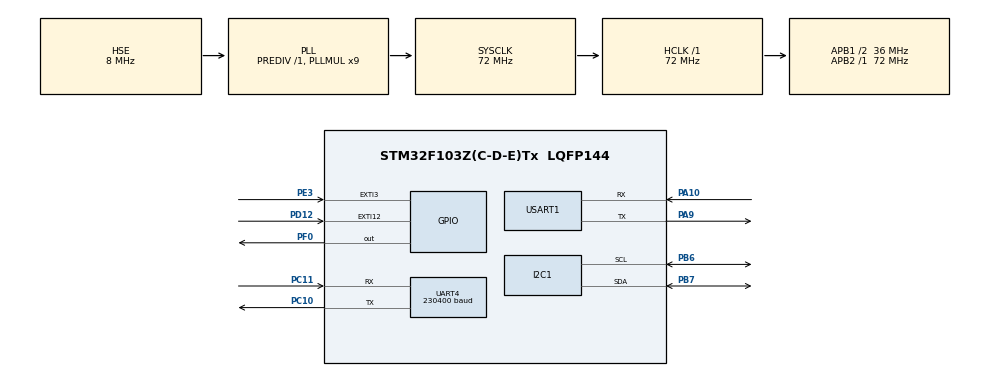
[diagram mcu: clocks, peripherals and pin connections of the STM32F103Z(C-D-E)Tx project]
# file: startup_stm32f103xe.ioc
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Dma.Request0=UART4_TX
Dma.UART4_TX.0.Direction=DMA_MEMORY_TO_PERIPH
Dma.UART4_TX.0.Instance=DMA2_Channel5
Dma.UART4_TX.0.MemDataAlignment=DMA_MDATAALIGN_BYTE
Dma.UART4_TX.0.MemInc=DMA_MINC_ENABLE
Dma.UART4_TX.0.Mode=DMA_NORMAL
Dma.UART4_TX.0.PeriphDataAlignment=DMA_PDATAALIGN_BYTE
Dma.UART4_TX.0.PeriphInc=DMA_PINC_DISABLE
Dma.UART4_TX.0.Priority=DMA_PRIORITY_HIGH
FREERTOS.Tasks01=defaultTask,24,128,StartDefaultTask,Default,NULL,Dynamic,NULL,NULL
FREERTOS.configTOTAL_HEAP_SIZE=3072*4
FREERTOS.configUSE_TICK_HOOK=1
I2C1.I2C_Mode=I2C_Fast
Mcu.Family=STM32F1
Mcu.Name=STM32F103Z(C-D-E)Tx
Mcu.Package=LQFP144
NVIC.DMA2_Channel4_5_IRQn=true\:5\:0\:false\:false\:true\:true\:false\:true\:true
NVIC.EXTI15_10_IRQn=true\:5\:0\:false\:false\:true\:true\:true\:true\:true
NVIC.EXTI3_IRQn=true\:5\:0\:false\:false\:true\:true\:true\:true\:true
NVIC.PriorityGroup=NVIC_PRIORITYGROUP_4
NVIC.TIM8_UP_IRQn=true\:12\:0\:true\:false\:true\:false\:false\:true\:true
NVIC.TimeBase=TIM8_UP_IRQn
NVIC.TimeBaseIP=TIM8
NVIC.UART4_IRQn=true\:5\:0\:false\:false\:true\:true\:true\:true\:true
OSC_IN.Mode=HSE-External-Oscillator
OSC_IN.Signal=RCC_OSC_IN
OSC_OUT.Mode=HSE-External-Oscillator
OSC_OUT.Signal=RCC_OSC_OUT
PA10.Mode=Asynchronous
PA10.Signal=USART1_RX
PA13.Mode=Serial_Wire
PA13.Signal=SYS_JTMS-SWDIO
PA14.Mode=Serial_Wire
PA14.Signal=SYS_JTCK-SWCLK
PA9.Mode=Asynchronous
PA9.Signal=USART1_TX
PB6.Mode=I2C
PB6.Signal=I2C1_SCL
PB7.Mode=I2C
PB7.Signal=I2C1_SDA
PC10.Mode=Asynchronous
PC10.Signal=UART4_TX
PC11.Mode=Asynchronous
PC11.Signal=UART4_RX
PD12.GPIO_ModeDefaultEXTI=GPIO_MODE_IT_FALLING
PD12.GPIO_PuPd=GPIO_PULLUP
PD12.Signal=GPXTI12
PE3.GPIO_ModeDefaultEXTI=GPIO_MODE_IT_FALLING
PE3.GPIO_PuPd=GPIO_PULLUP
PE3.Signal=GPXTI3
PF0.GPIO_PuPd=GPIO_PULLDOWN
PF0.GPIO_Speed=GPIO_SPEED_FREQ_MEDIUM
PF0.PinState=GPIO_PIN_SET
PF0.Signal=GPIO_Output
ProjectManager.HeapSize=0x200
ProjectManager.StackSize=0x400
ProjectManager.TargetToolchain=CMake
RCC.AHBFreq_Value=72000000
RCC.APB1CLKDivider=RCC_HCLK_DIV2
RCC.APB1Freq_Value=36000000
RCC.APB1TimFreq_Value=72000000
RCC.APB2Freq_Value=72000000
RCC.APB2TimFreq_Value=72000000
RCC.HCLKFreq_Value=72000000
RCC.PLLMUL=RCC_PLL_MUL9
RCC.PLLSourceVirtual=RCC_PLLSOURCE_HSE
RCC.SYSCLKFreq_VALUE=72000000
RCC.SYSCLKSource=RCC_SYSCLKSOURCE_PLLCLK
RCC.USBFreq_Value=72000000
UART4.BaudRate=230400
UART4.VirtualMode=Asynchronous
USART1.VirtualMode=VM_ASYNC
VP_FREERTOS_VS_CMSIS_V2.Mode=CMSIS_V2
VP_SYS_VS_tim8.Mode=TIM8
board=custom

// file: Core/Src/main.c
/* USER CODE BEGIN Header */
/**
  ******************************************************************************
  * @file           : main.c
  * @brief          : Main program body
  ******************************************************************************
  * @attention
  *
  * Copyright (c) 2026 STMicroelectronics.
  * All rights reserved.
  *
  * This software is licensed under terms that can be found in the LICENSE file
  * in the root directory of this software component.
  * If no LICENSE file comes with this software, it is provided AS-IS.
  *
  ******************************************************************************
  */
/* USER CODE END Header */
#include "main.h"
#include "cmsis_os.h"
#include "dma.h"
#include "i2c.h"
#include "usart.h"
#include "gpio.h"

/* USER CODE BEGIN Includes */
#include "OLED.h"
/* USER CODE END Includes */

void SystemClock_Config(void);
void MX_FREERTOS_Init(void);

int main(void)
{

  /* MCU Configuration--------------------------------------------------------*/

  /* Reset of all peripherals, Initializes the Flash interface and the Systick. */
  HAL_Init();

  /* Configure the system clock */
  SystemClock_Config();

  /* Initialize all configured peripherals */
  MX_GPIO_Init();
  MX_DMA_Init();
  MX_I2C1_Init();
  MX_USART1_UART_Init();
  MX_UART4_Init();
  /* USER CODE BEGIN 2 */
  HAL_GPIO_WritePin(GPIOF,GPIO_PIN_0,SET); // 默认输出高电平
  OLED_Init();
  /* USER CODE END 2 */

  /* Init scheduler */
  osKernelInitialize();

  /* Call init function for freertos objects (in cmsis_os2.c) */
  MX_FREERTOS_Init();

  /* Start scheduler */
  osKernelStart();

  /* We should never get here as control is now taken by the scheduler */

  /* Infinite loop */
  while (1)
  {

  }
}

void SystemClock_Config(void)
{
  RCC_OscInitTypeDef RCC_OscInitStruct = {0};
  RCC_ClkInitTypeDef RCC_ClkInitStruct = {0};

  /** Initializes the RCC Oscillators according to the specified parameters
  * in the RCC_OscInitTypeDef structure.
  */
  RCC_OscInitStruct.OscillatorType = RCC_OSCILLATORTYPE_HSE;
  RCC_OscInitStruct.HSEState = RCC_HSE_ON;
  RCC_OscInitStruct.HSEPredivValue = RCC_HSE_PREDIV_DIV1;
  RCC_OscInitStruct.HSIState = RCC_HSI_ON;
  RCC_OscInitStruct.PLL.PLLState = RCC_PLL_ON;
  RCC_OscInitStruct.PLL.PLLSource = RCC_PLLSOURCE_HSE;
  RCC_OscInitStruct.PLL.PLLMUL = RCC_PLL_MUL9;
  if (HAL_RCC_OscConfig(&RCC_OscInitStruct) != HAL_OK)
  {
    Error_Handler();
  }

  /** Initializes the CPU, AHB and APB buses clocks
  */
  RCC_ClkInitStruct.ClockType = RCC_CLOCKTYPE_HCLK|RCC_CLOCKTYPE_SYSCLK
                              |RCC_CLOCKTYPE_PCLK1|RCC_CLOCKTYPE_PCLK2;
  RCC_ClkInitStruct.SYSCLKSource = RCC_SYSCLKSOURCE_PLLCLK;
  RCC_ClkInitStruct.AHBCLKDivider = RCC_SYSCLK_DIV1;
  RCC_ClkInitStruct.APB1CLKDivider = RCC_HCLK_DIV2;
  RCC_ClkInitStruct.APB2CLKDivider = RCC_HCLK_DIV1;

  if (HAL_RCC_ClockConfig(&RCC_ClkInitStruct, FLASH_LATENCY_2) != HAL_OK)
  {
    Error_Handler();
  }
}

void HAL_TIM_PeriodElapsedCallback(TIM_HandleTypeDef *htim)
{
  if (htim->Instance == TIM8) {
    HAL_IncTick();
  }
}

void Error_Handler(void)
{
  __disable_irq();
  while (1)
  {
  }
}

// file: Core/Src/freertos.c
/* USER CODE BEGIN Header */
/* USER CODE END Header */

#include "FreeRTOS.h"
#include "task.h"
#include "main.h"
#include "cmsis_os.h"

/* USER CODE BEGIN Includes */
#include "event_groups.h"
#include "max30102.h"
#include "OLED.h"
#include "queue.h"
#include <string.h>
#include "utils.h"
#include <stdio.h>
#include "lowpower.h"

/* USER CODE END Includes */

/* USER CODE BEGIN PTD */

// 内存不对齐__attribute__packed
// sizeof 444Byte
typedef struct __attribute__((packed)){
  int32_t ppg[100];
  uint16_t heartrate;
  uint16_t valley_count; //峰谷的数量
  uint16_t valley_index[20]; // 心率最高240时最多4个波谷，存储20个峰谷数据，盈余一些
} Trans_Data_t;

/* USER CODE END PTD */

/* USER CODE BEGIN PD */
#define UART_PAYLOAD_LEN  sizeof(Trans_Data_t)

#define STARTBYTE1 0xAA
#define STARTBYTE2 0x55

#define ENDBYTE1 0X0D
#define ENDBYTE2 0X0D

/* USER CODE END PD */

/* USER CODE BEGIN Variables */
extern I2C_HandleTypeDef hi2c1;

Trans_Data_t trans_data_t ; // 位于内存中的.bss自动初始化为0

// UART要发送的buffer
uint8_t txbuf[UART_PAYLOAD_LEN + 10] = {0};

// 任务创建返回值
BaseType_t xCreateResult ;

// 任务句柄
TaskHandle_t xMax30102TaskHandle  = NULL;
TaskHandle_t xPpgProcessTaskHandle  = NULL;
TaskHandle_t xOledTaskHandle  = NULL;
TaskHandle_t xUploadHandle = NULL;
TaskHandle_t xLowPowerTaskHandle  = NULL;

// 事件组句柄
EventGroupHandle_t xStatusEventHandle = NULL;

// 用于OLED显示的心率值
uint16_t hr = 0;

// 心率队列Static
QueueHandle_t HeartRateHandle;
uint8_t QueueStorageBuffer[160];
StaticQueue_t xQueueBuffer;

// 传输静态队列Static
QueueHandle_t TransferHandle;
uint8_t QueueTransferBuffer[sizeof(Trans_Data_t)*4];
StaticQueue_t xQueueTransferBuffer;

// 事件组Static
StaticEventGroup_t xEventGroupBuffer;

// 事件
#define MAX30102_Init_Failed 				          (1UL << 0)
#define MAX30102_REG_INTR_STATUS_1_Failed 	  (1UL << 1)
#define MAX30102_REG_INTR_STATUS_2_Failed 	  (1UL << 2)
#define MAX30102_GetDataPointer_Failed 	      (1UL << 3)
#define MAX30102_QUEUE_FULL_ERR          	    (1UL << 4)
#define DMA_START_FAILED                      (1UL << 5)
#define DMA_TIME_OUT                          (1UL << 6)
#define ALL_Bit_Error (MAX30102_Init_Failed|MAX30102_REG_INTR_STATUS_1_Failed|\
                      MAX30102_REG_INTR_STATUS_2_Failed|MAX30102_GetDataPointer_Failed|\
                      MAX30102_QUEUE_FULL_ERR|DMA_START_FAILED|\
                      DMA_TIME_OUT)

/* USER CODE END Variables */
/* Definitions for defaultTask */
osThreadId_t defaultTaskHandle;
const osThreadAttr_t defaultTask_attributes = {
  .name = "defaultTask",
  .stack_size = 128 * 4,
  .priority = (osPriority_t) osPriorityNormal,
};

/* USER CODE BEGIN FunctionPrototypes */
void Task_MAX30102(void *argument);
void Task_PPG_Process(void *argument);
void Task_OLED_Show(void *argument);
void Task_Upload(void *argument);
void Is_Low_Power(void *argument);

void StartDefaultTask(void *argument);
void MX_FREERTOS_Init(void);
void UART_Protocol_EncodeFrame(Trans_Data_t *data,uint16_t length);
void UART_Protocol_Init(void);

/* USER CODE END FunctionPrototypes */

void StartDefaultTask(void *argument);

void MX_FREERTOS_Init(void); /* (MISRA C 2004 rule 8.1) */

/* Hook prototypes */
void vApplicationTickHook(void);

/* USER CODE BEGIN 3 */
volatile uint8_t g_ucCPUUsage = 0;
void vApplicationTickHook( void )
{
  static uint32_t ulIdleTicks = 0;
  static uint32_t ulTotalTicks = 0;
  // 获取空闲任务的句柄（系统启动后只会获取一次）
  static TaskHandle_t xIdleTaskHandle = NULL;
  if (xIdleTaskHandle == NULL) {
    xIdleTaskHandle = xTaskGetIdleTaskHandle();
  }
  // 统计总次数
  ulTotalTicks++;
  //  检查当前正在运行的任务是否是空闲任务
  if (xTaskGetCurrentTaskHandle() == xIdleTaskHandle) {
    ulIdleTicks++;
  }
  // 100个Tick后计算CPU使用率
  if (ulTotalTicks >= 100) {
    // 计算百分比：100 - (空闲比例 * 100)
    g_ucCPUUsage = 100 - (100 * ulIdleTicks) / ulTotalTicks;
    ulIdleTicks = 0;
    ulTotalTicks = 0;
  }
}
/* USER CODE END 3 */

void MX_FREERTOS_Init(void) {
  /* USER CODE BEGIN Init */
    // 创建事件组
    xStatusEventHandle = xEventGroupCreateStatic(&xEventGroupBuffer);
    if (xStatusEventHandle == NULL)
    {
      Error_Handler();
    }
  /* USER CODE END Init */

  /* USER CODE BEGIN RTOS_QUEUES */
  // 创建队列,队列长度20,每个元素4字节，存储在QueueStorageBuffer
  HeartRateHandle = xQueueCreateStatic(40,4,QueueStorageBuffer,&xQueueBuffer);
  xQueueReset(HeartRateHandle);

  // 创建队列,队列长度4,每个元素sizeof(Trans_Data_t)字节，存储在QueueTransferBuffer
  TransferHandle = xQueueCreateStatic(4,sizeof(Trans_Data_t),QueueTransferBuffer,&xQueueTransferBuffer);
  xQueueReset(TransferHandle);

  /* USER CODE END RTOS_QUEUES */

  /* Create the thread(s) */
  /* creation of defaultTask */
  defaultTaskHandle = osThreadNew(StartDefaultTask, NULL, &defaultTask_attributes);

  /* USER CODE BEGIN RTOS_THREADS */

  xCreateResult = xTaskCreate(
    Task_MAX30102,
    "Task_MAX30102",
    256,
    NULL,
    10,
    &xMax30102TaskHandle
  );
  if (xCreateResult != pdPASS) {
    Error_Handler();
  }

   xCreateResult = xTaskCreate(
       Task_PPG_Process,
       "Task_PPG_Process",
       512,
       NULL,
       9,
       &xPpgProcessTaskHandle
   );
  if (xCreateResult != pdPASS) {
    Error_Handler();
  }

  xCreateResult = xTaskCreate(
      Task_OLED_Show,
      "Task_OLED_Show",
      256,
      (void *)&hr,
      7,
      &xOledTaskHandle
  );
  if (xCreateResult != pdPASS) {
    Error_Handler();
  }

  xCreateResult = xTaskCreate(
      Task_Upload,
      "Task_Upload",
      512,
      NULL,
      8,
      &xUploadHandle
    );
  if (xCreateResult != pdPASS) {
    Error_Handler();
  }

  xCreateResult = xTaskCreate(
    Is_Low_Power,
    "Is_Low_Power",
    256,
    NULL,
    11,
    &xLowPowerTaskHandle
  );
  if (xCreateResult != pdPASS) {
    Error_Handler();
  }

  /* add threads, ... */
  /* USER CODE END RTOS_THREADS */

}

void StartDefaultTask(void *argument)
{
  for(;;)
  {
    osDelay(1);
  }
}

/* USER CODE BEGIN Application */

void Task_MAX30102(void *argument)
{
  // 若MAX30102_Init失败则记录到事件组中
  if (MAX30102_Init(&hi2c1,0) != HAL_OK)
  {
    xEventGroupSetBits(xStatusEventHandle,MAX30102_Init_Failed);
  }
  uint32_t FIFOdata = 0;
  uint8_t status1 = 0;
  uint8_t status2 = 0;
  // FIFO可读取的数据
  while (1)
  {
    // 任务通知接收，采用率是100Hz,最多等1s
    ulTaskNotifyTake(pdTRUE, pdMS_TO_TICKS(1000));
    // 读状态寄存器清除中断
    if (MAX30102_ReadReg(&hi2c1, MAX30102_REG_INTR_STATUS_1, &status1) != HAL_OK)
    {
      xEventGroupSetBits(xStatusEventHandle,MAX30102_REG_INTR_STATUS_1_Failed);
    }
    if (MAX30102_ReadReg(&hi2c1, MAX30102_REG_INTR_STATUS_2, &status2) != HAL_OK)
    {
      xEventGroupSetBits(xStatusEventHandle,MAX30102_REG_INTR_STATUS_2_Failed);
    }
    // 获取FIFO可读取的数据
    if (MAX30102_GetDataPointer(&hi2c1,&FIFOdata) != HAL_OK) {
      xEventGroupSetBits(xStatusEventHandle,MAX30102_GetDataPointer_Failed);
    }
    // 发到队列上
    if (xQueueSendToBack(HeartRateHandle,&FIFOdata,0) != pdPASS) {
      xEventGroupSetBits(xStatusEventHandle,MAX30102_QUEUE_FULL_ERR);
    }
  }
}

void Task_PPG_Process(void *argument)
{
  // 队列接收状态
  BaseType_t QueueReceiveStatus = pdFALSE;

  // 滤波器初始化
  bandpass bandpass_30102;
  MAX30102_BandPass_Init(&bandpass_30102);

  // 环形缓冲区接收数据
  static heart_buff_t hb_buffer;
  heart_buff_t* hb = &hb_buffer;
  Slide_Window_Init(hb);

  // 创建一个临时变量，存储传感器读到的数据
  uint32_t ir_value = 0;
  // 记录是否获取到最新的100点数据
  static uint8_t step_count = 99; // 环形缓冲区是空的，当环形缓冲区满了，计算一次
  // 记录波形最大最小值
  static long max_wave = 0;
  static long min_wave = 0;
  // 结构体ppg索引
  uint8_t ppg_t_index = 0;
  while (1)
  {
     QueueReceiveStatus = xQueueReceive(HeartRateHandle,&ir_value,portMAX_DELAY);
    // 读到队列的数据了
    if (QueueReceiveStatus == pdPASS) {

      float get_value = MAX30102_bandpass_filter((float)ir_value,&bandpass_30102);
      // 保留两位小数，截段剩余部分
      int get_value_100 = (int)(get_value * 100.0f);
      // 加入环形缓冲区
      Slide_Window_AddData(hb,get_value_100);
      // 当环形缓冲区满时，开始处理数据
      if (hb->count == 500) step_count++;
      // 如果更新的数据为100时，计算一次心率
      if (step_count >= 100) {
        // 更新计数值为0
        step_count = 0;
        // 初始化波形最大最小值
        min_wave = Slide_Window_GetData(hb, 0);
        max_wave = min_wave;
        // 遍历环形缓冲区，找出最大最小值
        for (int i = 1; i < 500; i++) {
          int v = Slide_Window_GetData(hb, i);
          if (v < min_wave) min_wave = v;
          if (v > max_wave) max_wave = v;
        }
        // 阈值经验公式
        long threshold = min_wave + (long)(0.45f * (max_wave - min_wave));

        // hb_index 用于存储峰谷索引值，采样率100HZ
        // hb_count 用于记录存储了多少峰值
        // bottom_index 更新峰谷索引
        uint16_t hb_index[20];
        uint8_t hb_count = 0;
        int bottom_index = -1;

        // 遍历环形缓冲区，寻找峰谷，找5点中最小值
        int p_2 = Slide_Window_GetData(hb, 0);
        int p_1 = Slide_Window_GetData(hb, 1);
        int p_0 = Slide_Window_GetData(hb, 2);
        int p1  = Slide_Window_GetData(hb, 3);
        int p2;
        for (int i = 2; i < 500-2; i++) {
          p2 = Slide_Window_GetData(hb, i+2);
        // p0为五点最小且p0小于阈值，则p0为峰谷点
        if (p_0 < p_1 && p_0 < p1 && p_1 < p_2 && p1 < p2 && p_0 < threshold) {
          // if (bottom_index == -1 ||( i - bottom_index >=25 && i-bottom_index < 200))
          // 测静息心率来说的话，心率在50到150之间
          if (bottom_index == -1 ||(i - bottom_index >=40 && i - bottom_index <= 120) )
            {
            if (hb_count < 20) {
              // 记录峰谷索引
              hb_index[hb_count++] = i;
              // 更新峰谷索引
              bottom_index = i;
            }
          }
        }
          p_2 = p_1;
          p_1 = p_0;
          p_0 = p1;
          p1  = p2;
        }

        // 装填前清理trans_data_t
        memset(&trans_data_t, 0, sizeof(trans_data_t));
        // 装填数据到结构体
        for (uint16_t i = 0;i<100;i++) {
          trans_data_t.ppg[i] = Slide_Window_GetData(hb,i+400);
        }
        trans_data_t.heartrate = 0;
        for (int i = 0; i < hb_count; i++) {
          trans_data_t.valley_index[i] = hb_index[i];
        }
        trans_data_t.valley_count = hb_count;
        // 计算心率值
        uint16_t average_heart = 0;
        for (int i = 1; i < hb_count; i++) {
          average_heart += hb_index[i] - hb_index[i-1];
        }
        if (hb_count < 2) {
          xQueueSendToBack(TransferHandle,&trans_data_t,0);
          continue;
        }
        average_heart /= (hb_count - 1);
        if (average_heart == 0) {
          xQueueSendToBack(TransferHandle,&trans_data_t,0);
          continue;
        }
        hr = 6000/(average_heart);
        trans_data_t.heartrate = hr;
        // 队列发送数据
        xQueueSendToBack(TransferHandle,&trans_data_t,0);
      }
    }
  }
}

static void OLED_ShowError(EventBits_t error_bits)
{
  if (error_bits & MAX30102_Init_Failed)
  {
    OLED_ShowString(4, 1, "ERR:MAX INIT   ");
  }
  else if (error_bits & MAX30102_REG_INTR_STATUS_1_Failed)
  {
    OLED_ShowString(4, 1, "ERR:INT ST1    ");
  }
  else if (error_bits & MAX30102_REG_INTR_STATUS_2_Failed)
  {
    OLED_ShowString(4, 1, "ERR:INT ST2    ");
  }
  else if (error_bits & MAX30102_GetDataPointer_Failed)
  {
    OLED_ShowString(4, 1, "ERR:FIFO PTR   ");
  }
  else if (error_bits & MAX30102_QUEUE_FULL_ERR)
  {
    OLED_ShowString(4, 1, "ERR:HR QUEUE   ");
  }
  else if (error_bits & DMA_START_FAILED)
  {
    OLED_ShowString(4, 1, "ERR:DMA START  ");
  }
  else if (error_bits & DMA_TIME_OUT)
  {
    OLED_ShowString(4, 1, "ERR:DMA TIMEOUT");
  }
  else
  {
    OLED_ShowString(4, 1, "OK             ");
  }
}

void Task_OLED_Show(void *argument)
{
  // 心率值指针
  volatile uint16_t *hr_ptr = (volatile uint16_t *)argument;
  // 进入中断的次数
  extern volatile uint32_t g_max30102IntCount;
  // cpu占用率
  // extern uint8_t g_ucCPUUsage;
  // 固定1s
  const TickType_t refresh_period = pdMS_TO_TICKS(1000);

  TickType_t last_wake = xTaskGetTickCount();
  TickType_t last_tick = last_wake;

  uint32_t last_int = g_max30102IntCount ;
  uint32_t irq_rate = 0;

  OLED_ShowString(1, 1, "HR:");
  OLED_ShowString(2, 1, "IRQ:");
  OLED_ShowString(3, 1, "CPU:");
  OLED_ShowString(3, 8, "%");
  OLED_ShowString(4,1,"OK");

  while (1)
  {
    TickType_t now = xTaskGetTickCount();

    uint32_t now_int = g_max30102IntCount;
    uint32_t delta_int = now_int - last_int;
    TickType_t delta_tick = now - last_tick;

    // EventBits_t EventGroupStatus = xEventGroupWaitBits(xStatusEventHandle,ALL_Bit_Error,pdFALSE,pdFALSE,0);
    EventBits_t EventGroupStatus = xEventGroupGetBits(xStatusEventHandle);
    EventGroupStatus &= ALL_Bit_Error;
    OLED_ShowError(EventGroupStatus);

    if (delta_tick > 0)
    {
      irq_rate = (uint32_t)((delta_int * 1000) / ( delta_tick ));
    }
    last_int = now_int;
    last_tick = now;

    OLED_ShowNum(1, 5, *hr_ptr, 3);
    OLED_ShowNum(2, 5, irq_rate, 5);
    OLED_ShowNum(3, 5, g_ucCPUUsage, 3);

    vTaskDelayUntil(&last_wake, refresh_period);
  }
}

void Task_Upload(void *argument)
{
  extern UART_HandleTypeDef huart4;
  extern UART_HandleTypeDef huart1;
  UART_Protocol_Init();
  static Trans_Data_t receiver;
  HAL_StatusTypeDef uart_t_status;

  while (1) {
    // 如果队列有数据来了
    if (xQueueReceive(TransferHandle, &receiver, portMAX_DELAY) == pdPASS) {

      // 对接收到的数据进行协议帧编码，添加帧头、序号、长度、CRC校验和帧尾
      UART_Protocol_EncodeFrame(&receiver,UART_PAYLOAD_LEN);

      // 等待上一次DMA发送完成的通知（非阻塞，立即返回）
      ulTaskNotifyTake(pdTRUE, 0);

      // 通过UART4使用DMA方式发送编码后的数据帧（数据长度 = 有效载荷 + 10字节帧开销）
      HAL_StatusTypeDef dmatask = HAL_UART_Transmit_DMA(&huart4,txbuf,UART_PAYLOAD_LEN + 10);

      // 用于测试
      // HAL_UART_Transmit(&huart1,txbuf,UART_PAYLOAD_LEN + 10,100);

      if (dmatask == HAL_OK) {
        // 等待100ms，如果100ms没人叫我，返回0,有人叫我的话，返回值大于1
        if (ulTaskNotifyTake(pdTRUE, pdMS_TO_TICKS(100)) == 0)
        {
          xEventGroupSetBits(xStatusEventHandle,DMA_TIME_OUT);
          HAL_UART_AbortTransmit(&huart4);
        }
      }
      else
      {
        xEventGroupSetBits(xStatusEventHandle,DMA_START_FAILED);
      }

    }
 }
}

// tx_buf除了序号,数据和crc均load
void UART_Protocol_Init(void)
{
  // 填充帧头起始标志 (0xAA 0x55)，用于标识数据帧的开始
  txbuf[0] = STARTBYTE1;
  txbuf[1] = STARTBYTE2;

  // 填充有效载荷长度字段（小端模式），位于帧的第4-5字节
  txbuf[4] = UART_PAYLOAD_LEN & 0xFF;        // 长度低8位
  txbuf[5] = (UART_PAYLOAD_LEN >> 8) & 0xFF; // 长度高8位

  // 填充帧尾结束标志 (0x0D 0x0D)，用于标识数据帧的结束
  // 位置在有效载荷数据之后（偏移量为 UART_PAYLOAD_LEN + 8）
  txbuf[UART_PAYLOAD_LEN + 8] = ENDBYTE1;
  txbuf[UART_PAYLOAD_LEN + 9] = ENDBYTE2;
}

 // 帧格式：[帧头2B][序号2B][长度2B][数据N 444B][CRC 2B][帧尾2B]
void UART_Protocol_EncodeFrame(Trans_Data_t *data,uint16_t length)
{
  // 静态变量：帧序列号，每次发送自动递增（0-65535循环）
  static uint16_t S_number = 0;

  // 填充帧序号（小端模式），位于帧的第2-3字节
  txbuf[2] = S_number & 0xFF;        // 序号低8位
  txbuf[3] = (S_number >> 8) & 0xFF; // 序号高8位
  S_number++; // 序号自增，用于接收方检测丢包和帧顺序

  // 将用户数据复制到帧的数据区域（从偏移量6开始）
  // 数据结构：ppg[100](444字节) + heartrate(2字节) = 446字节
  memcpy(&txbuf[6],data,length);

  // 计算CRC16校验码，校验范围包含：序号(2B) + 长度(2B) + 数据(NB)
  // 从txbuf[2]开始，长度为 length + 4（4 = 2字节序号 + 2字节长度）
  uint16_t crc = calc_crc16_uint16(&txbuf[2],length + 4);      // 校验序号+长度+数据

  // 填充CRC校验码到帧中（小端模式），位置在数据之后
  txbuf[UART_PAYLOAD_LEN + 6] = crc & 0xFF;        // CRC低8位
  txbuf[UART_PAYLOAD_LEN + 7] = (crc >> 8 ) & 0xFF; // CRC高8位
}

// DMA发送完成回调函数，触发任务完成通知
void HAL_UART_TxCpltCallback(UART_HandleTypeDef *huart)
{
  if (huart->Instance == UART4)
  {
    BaseType_t xHigherPriorityTaskWoken = pdFALSE;
    vTaskNotifyGiveFromISR(xUploadHandle , &xHigherPriorityTaskWoken);
    portYIELD_FROM_ISR(xHigherPriorityTaskWoken);
  }
}

void Is_Low_Power(void *argument)
{
  while (1) {
    // 等待任务通知，清楚通知值，
    ulTaskNotifyTake(pdTRUE,portMAX_DELAY);
    vTaskDelay(pdMS_TO_TICKS(20));
    if (HAL_GPIO_ReadPin(GPIOE, GPIO_PIN_3) == GPIO_PIN_RESET) {
      // 检测到低电平，进入低功耗模式
      extern void enter_lowpowermode();
      enter_lowpowermode();
    }
    while (HAL_GPIO_ReadPin(GPIOE, GPIO_PIN_3) == GPIO_PIN_RESET)
    {
      vTaskDelay(pdMS_TO_TICKS(10));
    }
  }
}

/* USER CODE END Application */
